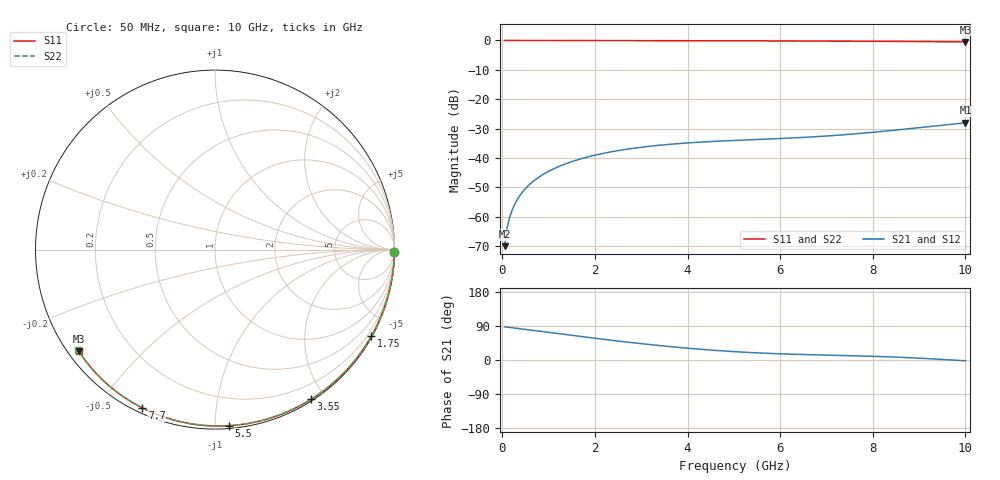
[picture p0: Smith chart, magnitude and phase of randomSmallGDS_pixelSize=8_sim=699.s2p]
! freq	dB(S11)	phase(S11)	dB(S12)	phase(S12)
!  dB(S21)	phase(S21)	dB(S22)	phase(S22)
!S-par simulation data
#  GHz  S  DB  R 50
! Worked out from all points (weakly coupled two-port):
!   200 points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, 50 MHz to 10 GHz, reference 50 ohm
!   highest |S21| = -28.03 dB at 10 GHz (marker M1); lowest = -70.0 dB at 50 MHz (marker M2)
!   lowest |S11| = -0.5 dB at 10 GHz (marker M3), VSWR 36.51, Z = 1.52 - j16.6 ohm
!   |S11| at or under -10 dB: nowhere
!   |S22| runs from -0.5 to 0.0 dB; largest |S21 - S12| = 0
!   S11 on the Smith chart (normalised r, x): 50 MHz: open; 1.75 GHz: 0.03, -3.86; 3.55 GHz: 0.02, -1.83; 5.5 GHz: 0.02, -1.08; 7.7 GHz: 0.02, -0.64; 10 GHz: 0.03, -0.33
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0.05  -0.00 -0.8  -70.00 88.0  -70.00 88.0  -0.00 -0.9
0.1  -0.00 -1.7  -64.12 86.8  -64.12 86.8  -0.00 -1.7
0.15  -0.00 -2.5  -60.69 86.0  -60.69 86.0  -0.00 -2.5
0.2  -0.00 -3.4  -58.25 85.4  -58.25 85.4  -0.00 -3.4
0.25  -0.00 -4.2  -56.35 84.7  -56.35 84.7  -0.00 -4.2
0.35  -0.00 -5.9  -53.46 83.3  -53.46 83.3  -0.00 -5.9
0.5  -0.01 -8.4  -50.41 81.0  -50.41 81.0  -0.01 -8.5
0.7  -0.01 -11.8  -47.54 77.9  -47.54 77.9  -0.01 -11.8
1  -0.02 -16.7  -44.53 73.1  -44.53 73.1  -0.02 -16.8
1.35  -0.03 -22.5  -42.08 67.5  -42.08 67.5  -0.03 -22.6
1.75  -0.04 -29.0  -40.04 61.2  -40.04 61.2  -0.04 -29.2
2.5  -0.05 -41.0  -37.48 50.0  -37.48 50.0  -0.05 -41.3
3.4  -0.07 -55.0  -35.65 38.0  -35.65 38.0  -0.07 -55.3
3.55  -0.08 -57.3  -35.43 36.2  -35.43 36.2  -0.08 -57.6
4.3  -0.10 -68.5  -34.58 28.1  -34.58 28.1  -0.10 -68.9
5.05  -0.12 -79.3  -34.00 21.7  -34.00 21.7  -0.12 -79.7
5.5  -0.14 -85.5  -33.71 18.8  -33.71 18.8  -0.14 -86.0
6.7  -0.20 -101.7  -32.82 13.8  -32.82 13.8  -0.20 -102.2
7.7  -0.26 -114.6  -31.67 10.8  -31.67 10.8  -0.26 -115.1
8.35  -0.31 -122.8  -30.72 8.3  -30.72 8.3  -0.31 -123.3
9.2  -0.39 -133.3  -29.35 3.6  -29.35 3.6  -0.39 -133.8
10  -0.48 -143.2  -28.03 -2.1  -28.03 -2.1  -0.48 -143.7
